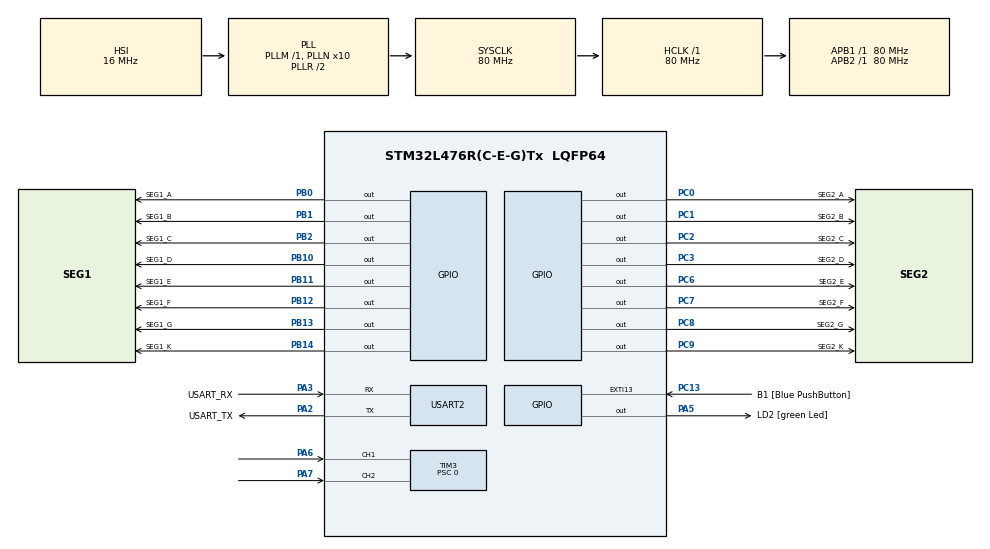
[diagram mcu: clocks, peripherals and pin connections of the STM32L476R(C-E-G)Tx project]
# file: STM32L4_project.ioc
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Mcu.Family=STM32L4
Mcu.Name=STM32L476R(C-E-G)Tx
Mcu.Package=LQFP64
NVIC.EXTI15_10_IRQn=true\:0\:0\:false\:false\:true\:true\:true\:true
NVIC.PriorityGroup=NVIC_PRIORITYGROUP_4
NVIC.TIM3_IRQn=true\:0\:0\:false\:false\:true\:true\:true\:true
PA13\ (JTMS-SWDIO).GPIO_Label=TMS
PA13\ (JTMS-SWDIO).Mode=Serial_Wire
PA13\ (JTMS-SWDIO).Signal=SYS_JTMS-SWDIO
PA14\ (JTCK-SWCLK).GPIO_Label=TCK
PA14\ (JTCK-SWCLK).Mode=Serial_Wire
PA14\ (JTCK-SWCLK).Signal=SYS_JTCK-SWCLK
PA2.GPIO_Label=USART_TX
PA2.GPIO_Mode=GPIO_MODE_AF_PP
PA2.GPIO_PuPd=GPIO_NOPULL
PA2.GPIO_Speed=GPIO_SPEED_FREQ_VERY_HIGH
PA2.Mode=Asynchronous
PA2.Signal=USART2_TX
PA3.GPIO_Label=USART_RX
PA3.GPIO_Mode=GPIO_MODE_AF_PP
PA3.GPIO_PuPd=GPIO_NOPULL
PA3.GPIO_Speed=GPIO_SPEED_FREQ_VERY_HIGH
PA3.Mode=Asynchronous
PA3.Signal=USART2_RX
PA5.GPIO_Label=LD2 [green Led]
PA5.GPIO_ModeDefaultOutputPP=GPIO_MODE_OUTPUT_PP
PA5.GPIO_PuPd=GPIO_NOPULL
PA5.GPIO_Speed=GPIO_SPEED_FREQ_LOW
PA5.Signal=GPIO_Output
PA6.Signal=S_TIM3_CH1
PA7.Signal=S_TIM3_CH2
PB0.GPIO_Label=SEG1_A
PB0.Signal=GPIO_Output
PB1.GPIO_Label=SEG1_B
PB1.Signal=GPIO_Output
PB10.GPIO_Label=SEG1_D
PB10.Signal=GPIO_Output
PB11.GPIO_Label=SEG1_E
PB11.Signal=GPIO_Output
PB12.GPIO_Label=SEG1_F
PB12.Signal=GPIO_Output
PB13.GPIO_Label=SEG1_G
PB13.Signal=GPIO_Output
PB14.GPIO_Label=SEG1_K
PB14.Signal=GPIO_Output
PB2.GPIO_Label=SEG1_C
PB2.Signal=GPIO_Output
PB3\ (JTDO-TRACESWO).GPIO_Label=SWO
PB3\ (JTDO-TRACESWO).Signal=SYS_JTDO-SWO
PC0.GPIO_Label=SEG2_A
PC0.Signal=GPIO_Output
PC1.GPIO_Label=SEG2_B
PC1.Signal=GPIO_Output
PC13.GPIO_Label=B1 [Blue PushButton]
PC13.GPIO_ModeDefaultEXTI=GPIO_MODE_IT_FALLING
PC13.GPIO_PuPd=GPIO_NOPULL
PC13.Signal=GPXTI13
PC14-OSC32_IN\ (PC14).Mode=LSE-External-Oscillator
PC14-OSC32_IN\ (PC14).Signal=RCC_OSC32_IN
PC15-OSC32_OUT\ (PC15).Mode=LSE-External-Oscillator
PC15-OSC32_OUT\ (PC15).Signal=RCC_OSC32_OUT
PC2.GPIO_Label=SEG2_C
PC2.Signal=GPIO_Output
PC3.GPIO_Label=SEG2_D
PC3.Signal=GPIO_Output
PC6.GPIO_Label=SEG2_E
PC6.Signal=GPIO_Output
PC7.GPIO_Label=SEG2_F
PC7.Signal=GPIO_Output
PC8.GPIO_Label=SEG2_G
PC8.Signal=GPIO_Output
PC9.GPIO_Label=SEG2_K
PC9.Signal=GPIO_Output
PH0-OSC_IN\ (PH0).Signal=RCC_OSC_IN
PH1-OSC_OUT\ (PH1).Signal=RCC_OSC_OUT
ProjectManager.HeapSize=0x200
ProjectManager.StackSize=0x400
ProjectManager.TargetToolchain=CMake
RCC.ADCFreq_Value=64000000
RCC.AHBFreq_Value=80000000
RCC.APB1Freq_Value=80000000
RCC.APB1TimFreq_Value=80000000
RCC.APB2Freq_Value=80000000
RCC.APB2TimFreq_Value=80000000
RCC.CortexFreq_Value=80000000
RCC.HCLKFreq_Value=80000000
RCC.HSE_VALUE=8000000
RCC.HSI_VALUE=16000000
RCC.MSI_VALUE=4000000
RCC.PLLN=10
RCC.PLLSourceVirtual=RCC_PLLSOURCE_HSI
RCC.PREFETCH_ENABLE=1
RCC.SYSCLKFreq_VALUE=80000000
RCC.SYSCLKSource=RCC_SYSCLKSOURCE_PLLCLK
RCC.USBFreq_Value=64000000
RCC.VCOOutputFreq_Value=160000000
SH.S_TIM3_CH1.0=TIM3_CH1,Encoder_Interface
SH.S_TIM3_CH2.0=TIM3_CH2,Encoder_Interface
TIM3.AutoReloadPreload=TIM_AUTORELOAD_PRELOAD_DISABLE
TIM3.EncoderMode=TIM_ENCODERMODE_TI1
TIM3.IC1Filter=15
TIM3.IC2Filter=15
TIM3.Period=100
TIM3.Prescaler=0
TIM3.TIM_MasterOutputTrigger=TIM_TRGO_RESET
USART2.VirtualMode-Asynchronous=VM_ASYNC
board=NUCLEO-L476RG

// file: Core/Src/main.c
/* USER CODE BEGIN Header */
/**
  ******************************************************************************
  * @file           : main.c
  * @brief          : Main program body
  ******************************************************************************
  * @attention
  *
  * Copyright (c) 2026 STMicroelectronics.
  * All rights reserved.
  *
  * This software is licensed under terms that can be found in the LICENSE file
  * in the root directory of this software component.
  * If no LICENSE file comes with this software, it is provided AS-IS.
  *
  ******************************************************************************
  */
/* USER CODE END Header */
#include "main.h"

/* USER CODE BEGIN Includes */

#include <stdint.h>
#include <stdio.h>
#include "lcd_06281.h"
/* USER CODE END Includes */

TIM_HandleTypeDef htim3;

UART_HandleTypeDef huart2;

/* USER CODE BEGIN PV */
static uint16_t counter;
static uint16_t last_counter;

/* USER CODE END PV */

void SystemClock_Config(void);
static void MX_GPIO_Init(void);
static void MX_USART2_UART_Init(void);
static void MX_TIM3_Init(void);
/* USER CODE BEGIN PFP */
void HAL_GPIO_EXTI_Callback(uint16_t GPIO_Pin);
/* USER CODE END PFP */

/* USER CODE BEGIN 0 */

int __io_putchar(int ch)
{
    if (ch == '\n') { __io_putchar('\r'); }
    uint8_t c = (uint8_t)ch;
    HAL_UART_Transmit(&huart2, &c, 1, HAL_MAX_DELAY);
    return ch;
}

volatile uint32_t captured_value ;
void HAL_TIM_IC_CaptureCallback(TIM_HandleTypeDef *htim)
{
  if (htim == &htim3) {
    switch (HAL_TIM_GetActiveChannel(&htim3)) {
      case HAL_TIM_ACTIVE_CHANNEL_1:
        captured_value = HAL_TIM_ReadCapturedValue(htim, TIM_CHANNEL_1);
        break;
      default:
        break;
    }
  }
}
/* USER CODE END 0 */

int main(void)
{

  /* MCU Configuration--------------------------------------------------------*/

  /* Reset of all peripherals, Initializes the Flash interface and the Systick. */
  HAL_Init();

  /* Configure the system clock */
  SystemClock_Config();

  /* Initialize all configured peripherals */
  MX_GPIO_Init();
  MX_USART2_UART_Init();
  MX_TIM3_Init();
  /* USER CODE BEGIN 2 */
  //HAL_TIM_Base_Start(&htim3);
  //uint32_t last_value = 0;
  //HAL_TIM_IC_Start_IT(&htim3, TIM_CHANNEL_1);
  /* USER CODE END 2 */

  /* Infinite loop */
  /* USER CODE BEGIN WHILE */
  HAL_TIM_Encoder_Start(&htim3, TIM_CHANNEL_ALL);
  uint16_t prev_value = 0;

  HAL_GPIO_WritePin(SEG1_K_GPIO_Port, SEG1_K_Pin, GPIO_PIN_RESET);
  HAL_GPIO_WritePin(SEG1_A_GPIO_Port, SEG1_A_Pin, GPIO_PIN_SET);

  LCD_t lcd;
  LCD_init(&lcd);
  LCD_t lcd2;
  LCD_init2(&lcd2);

  while (1)
  {

   uint16_t value = __HAL_TIM_GET_COUNTER(&htim3);

    if (prev_value < 10 && value > 90) {
        __HAL_TIM_SET_COUNTER(&htim3, 0);
        value = 0;
    }
    else if (prev_value > 90 && value < 10) {
        __HAL_TIM_SET_COUNTER(&htim3, 100);
        value = 100;
    }

    if(value != prev_value)
    {

      prev_value = value;
      if(value == 100)
      {
        value = 99;
      }
      LCD_double_write(&lcd, &lcd2, (uint8_t)value);
      printf("value = %u \n", value);

    }

    if(counter != last_counter)
    {
      printf("Counter: %u\n", counter);
      LCD_blink(NULL, &lcd2, 1000);
      last_counter = counter;
    }

    /* USER CODE END WHILE */

  }
}

void SystemClock_Config(void)
{
  RCC_OscInitTypeDef RCC_OscInitStruct = {0};
  RCC_ClkInitTypeDef RCC_ClkInitStruct = {0};

  /** Configure the main internal regulator output voltage
  */
  if (HAL_PWREx_ControlVoltageScaling(PWR_REGULATOR_VOLTAGE_SCALE1) != HAL_OK)
  {
    Error_Handler();
  }

  /** Initializes the RCC Oscillators according to the specified parameters
  * in the RCC_OscInitTypeDef structure.
  */
  RCC_OscInitStruct.OscillatorType = RCC_OSCILLATORTYPE_HSI;
  RCC_OscInitStruct.HSIState = RCC_HSI_ON;
  RCC_OscInitStruct.HSICalibrationValue = RCC_HSICALIBRATION_DEFAULT;
  RCC_OscInitStruct.PLL.PLLState = RCC_PLL_ON;
  RCC_OscInitStruct.PLL.PLLSource = RCC_PLLSOURCE_HSI;
  RCC_OscInitStruct.PLL.PLLM = 1;
  RCC_OscInitStruct.PLL.PLLN = 10;
  RCC_OscInitStruct.PLL.PLLP = RCC_PLLP_DIV7;
  RCC_OscInitStruct.PLL.PLLQ = RCC_PLLQ_DIV2;
  RCC_OscInitStruct.PLL.PLLR = RCC_PLLR_DIV2;
  if (HAL_RCC_OscConfig(&RCC_OscInitStruct) != HAL_OK)
  {
    Error_Handler();
  }

  /** Initializes the CPU, AHB and APB buses clocks
  */
  RCC_ClkInitStruct.ClockType = RCC_CLOCKTYPE_HCLK|RCC_CLOCKTYPE_SYSCLK
                              |RCC_CLOCKTYPE_PCLK1|RCC_CLOCKTYPE_PCLK2;
  RCC_ClkInitStruct.SYSCLKSource = RCC_SYSCLKSOURCE_PLLCLK;
  RCC_ClkInitStruct.AHBCLKDivider = RCC_SYSCLK_DIV1;
  RCC_ClkInitStruct.APB1CLKDivider = RCC_HCLK_DIV1;
  RCC_ClkInitStruct.APB2CLKDivider = RCC_HCLK_DIV1;

  if (HAL_RCC_ClockConfig(&RCC_ClkInitStruct, FLASH_LATENCY_4) != HAL_OK)
  {
    Error_Handler();
  }
}

static void MX_TIM3_Init(void)
{

  TIM_Encoder_InitTypeDef sConfig = {0};
  TIM_MasterConfigTypeDef sMasterConfig = {0};

  htim3.Instance = TIM3;
  htim3.Init.Prescaler = 0;
  htim3.Init.CounterMode = TIM_COUNTERMODE_UP;
  htim3.Init.Period = 100;
  htim3.Init.ClockDivision = TIM_CLOCKDIVISION_DIV1;
  htim3.Init.AutoReloadPreload = TIM_AUTORELOAD_PRELOAD_DISABLE;
  sConfig.EncoderMode = TIM_ENCODERMODE_TI1;
  sConfig.IC1Polarity = TIM_ICPOLARITY_RISING;
  sConfig.IC1Selection = TIM_ICSELECTION_DIRECTTI;
  sConfig.IC1Prescaler = TIM_ICPSC_DIV1;
  sConfig.IC1Filter = 15;
  sConfig.IC2Polarity = TIM_ICPOLARITY_RISING;
  sConfig.IC2Selection = TIM_ICSELECTION_DIRECTTI;
  sConfig.IC2Prescaler = TIM_ICPSC_DIV1;
  sConfig.IC2Filter = 15;
  if (HAL_TIM_Encoder_Init(&htim3, &sConfig) != HAL_OK)
  {
    Error_Handler();
  }
  sMasterConfig.MasterOutputTrigger = TIM_TRGO_RESET;
  sMasterConfig.MasterSlaveMode = TIM_MASTERSLAVEMODE_DISABLE;
  if (HAL_TIMEx_MasterConfigSynchronization(&htim3, &sMasterConfig) != HAL_OK)
  {
    Error_Handler();
  }

}

static void MX_USART2_UART_Init(void)
{

  huart2.Instance = USART2;
  huart2.Init.BaudRate = 115200;
  huart2.Init.WordLength = UART_WORDLENGTH_8B;
  huart2.Init.StopBits = UART_STOPBITS_1;
  huart2.Init.Parity = UART_PARITY_NONE;
  huart2.Init.Mode = UART_MODE_TX_RX;
  huart2.Init.HwFlowCtl = UART_HWCONTROL_NONE;
  huart2.Init.OverSampling = UART_OVERSAMPLING_16;
  huart2.Init.OneBitSampling = UART_ONE_BIT_SAMPLE_DISABLE;
  huart2.AdvancedInit.AdvFeatureInit = UART_ADVFEATURE_NO_INIT;
  if (HAL_UART_Init(&huart2) != HAL_OK)
  {
    Error_Handler();
  }

}

static void MX_GPIO_Init(void)
{
  GPIO_InitTypeDef GPIO_InitStruct = {0};

  /* GPIO Ports Clock Enable */

  __HAL_RCC_GPIOH_CLK_ENABLE();
  __HAL_RCC_GPIOA_CLK_ENABLE();
  __HAL_RCC_GPIOC_CLK_ENABLE();

  /*Configure GPIO pin Output Level */
  HAL_GPIO_WritePin(LD2_GPIO_Port, LD2_Pin, GPIO_PIN_RESET);

  /*Configure GPIO pin : B1_Pin */
  GPIO_InitStruct.Pin = B1_Pin;
  GPIO_InitStruct.Mode = GPIO_MODE_IT_FALLING;
  GPIO_InitStruct.Pull = GPIO_NOPULL;
  HAL_GPIO_Init(B1_GPIO_Port, &GPIO_InitStruct);

  /*Configure GPIO pin : LD2_Pin */
  GPIO_InitStruct.Pin = LD2_Pin;
  GPIO_InitStruct.Mode = GPIO_MODE_OUTPUT_PP;
  GPIO_InitStruct.Pull = GPIO_NOPULL;
  GPIO_InitStruct.Speed = GPIO_SPEED_FREQ_LOW;
  HAL_GPIO_Init(LD2_GPIO_Port, &GPIO_InitStruct);

  /* EXTI interrupt init*/
  HAL_NVIC_SetPriority(EXTI15_10_IRQn, 0, 0);
  HAL_NVIC_EnableIRQ(EXTI15_10_IRQn);

}

/* USER CODE BEGIN 4 */
void HAL_GPIO_EXTI_Callback(uint16_t GPIO_Pin)
{
  if(GPIO_Pin == B1_Pin)
  {
    counter++;
  }
}
/* USER CODE END 4 */

void Error_Handler(void)
{
  __disable_irq();
  while (1)
  {
  }
}
